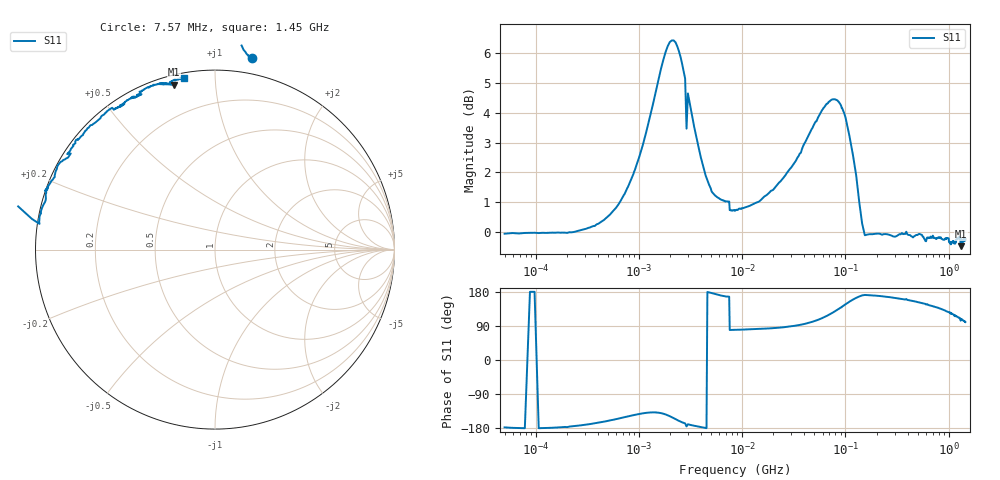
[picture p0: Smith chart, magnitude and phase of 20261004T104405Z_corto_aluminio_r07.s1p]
! piloto_corto / corto_aluminio / r07
# HZ S RI R 50
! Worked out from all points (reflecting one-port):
!   501 points, 50 kHz to 1.45 GHz, reference 50 ohm
!   lowest |S11| = -0.5 dB at 1.306 GHz (marker M1), VSWR 37.03, Z = 2.18 + j39.1 ohm
!   phase of S11 starts at -178 deg and turns -82 deg over the sweep
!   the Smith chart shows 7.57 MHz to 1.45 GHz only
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50000  -0.9933 -0.0382
183000  -0.997 -0.0499
373000  -0.9983 -0.2281
658000  -1.007 -0.5008
1180000  -1.12 -0.9596
1630000  -1.438 -1.203
1990000  -1.772 -1.094
2440000  -1.896 -0.6661
2710000  -1.806 -0.4495
3070000  -1.638 -0.2709
4600000  -1.22 0.0118
7300000  -1.097 0.251
7750000  0.2012 1.069
8560000  0.1955 1.07
3.16e7  0.00362 1.302
4.69e7  -0.2623 1.463
6.76e7  -0.7692 1.454
7.93e7  -1.044 1.302
9.46e7  -1.269 0.9767
9.82e7  -1.295 0.8929
1e8  -1.304 0.8514
1.18e8  -1.262 0.4749
1.36e8  -1.097 0.2408
1.63e8  -0.9793 0.1503
4.06e8  -0.9181 0.3692
8.11e8  -0.7097 0.6768
1.306e9  -0.2272 0.9198
1.45e9  -0.1715 0.9563
